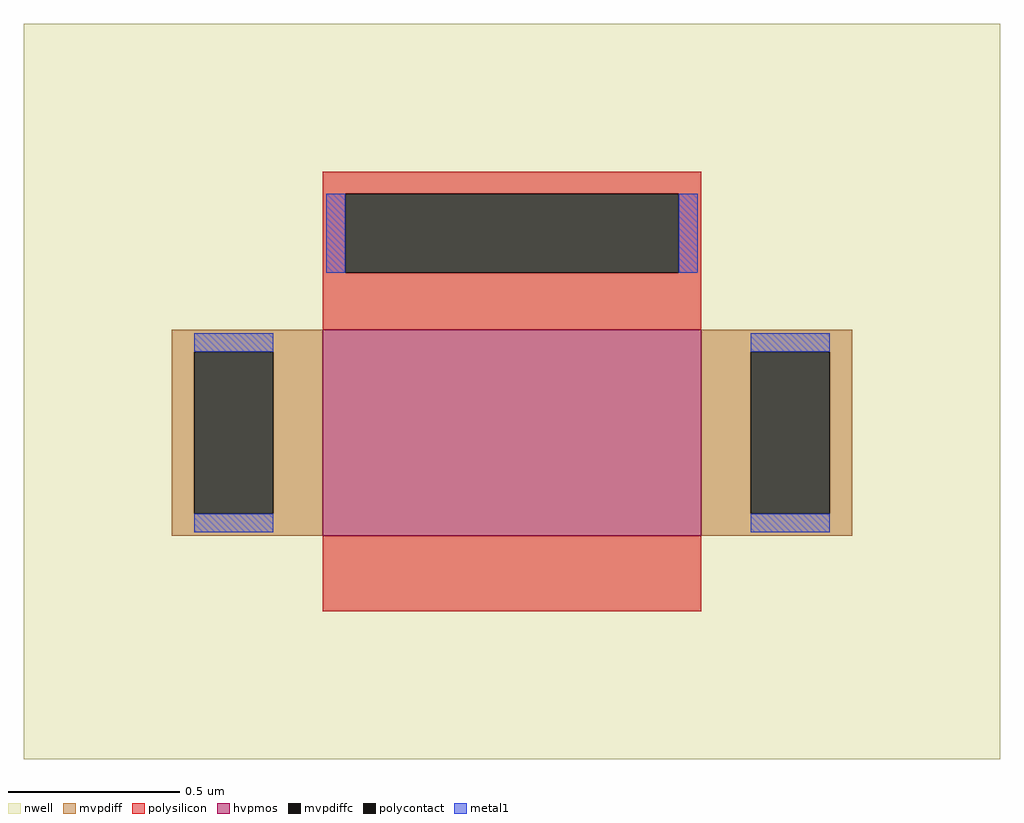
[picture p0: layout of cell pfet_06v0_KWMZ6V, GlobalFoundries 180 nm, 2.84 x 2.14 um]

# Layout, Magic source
magic
tech gf180mcuC
magscale 1 10
<< nwell >>
rect -284 -214 284 214
<< hvpmos >>
rect -110 -84 110 36
<< mvpdiff >>
rect -198 23 -110 36
rect -198 -71 -185 23
rect -139 -71 -110 23
rect -198 -84 -110 -71
rect 110 23 198 36
rect 110 -71 139 23
rect 185 -71 198 23
rect 110 -84 198 -71
<< mvpdiffc >>
rect -185 -71 -139 23
rect 139 -71 185 23
<< polysilicon >>
rect -110 115 110 128
rect -110 69 -97 115
rect 97 69 110 115
rect -110 36 110 69
rect -110 -128 110 -84
<< polycontact >>
rect -97 69 97 115
<< metal1 >>
rect -108 69 -97 115
rect 97 69 108 115
rect -185 23 -139 34
rect -185 -82 -139 -71
rect 139 23 185 34
rect 139 -82 185 -71
<< properties >>
string gencell pfet_06v0
string library gf180mcu
string parameters w 0.6 l 1.1 m 1 nf 1 diffcov 100 polycov 100 guard 0 glc 0 grc 0 gtc 0 gbc 0 tbcov 100 rlcov 100 topc 1 botc 0 poverlap 0 doverlap 0 lmin 0.55 wmin 0.3 class mosfet full_metal 0 compatible {pfet_03v3 pfet_05v0 pfet_06v0}
<< end >>
